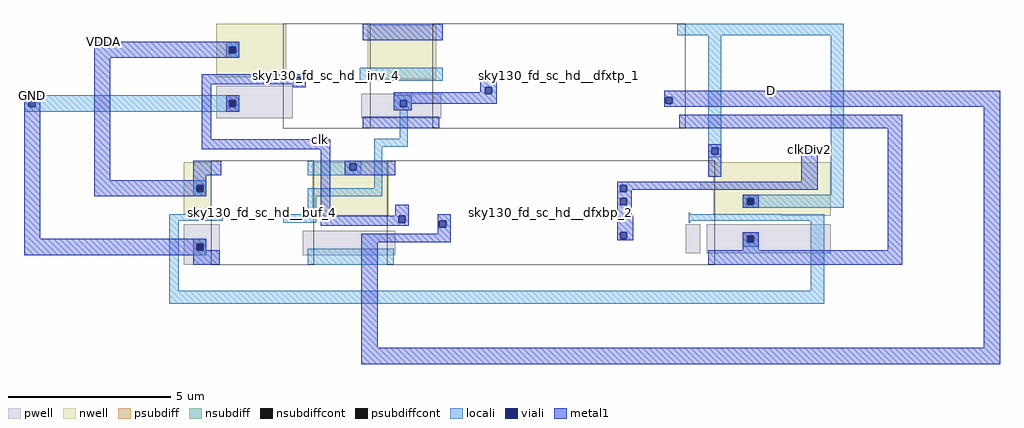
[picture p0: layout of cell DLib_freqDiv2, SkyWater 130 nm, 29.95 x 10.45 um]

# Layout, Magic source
magic
tech sky130A
magscale 1 2
<< nwell >>
rect -410 310 20 640
rect 520 300 940 630
rect -610 -530 -440 -210
rect 180 -540 650 -210
rect 2610 -300 3360 -210
rect 2640 -330 3360 -300
rect 2560 -380 3360 -330
rect 2640 -530 3360 -380
rect 3060 -540 3360 -530
<< pwell >>
rect -410 60 60 260
rect 480 60 970 210
rect -610 -840 -390 -590
rect 120 -780 690 -630
rect 2470 -770 2560 -590
rect 2600 -770 3360 -590
<< psubdiff >>
rect -350 170 -270 200
rect -350 130 -330 170
rect -290 130 -270 170
rect -350 100 -270 130
rect 2820 -660 2920 -640
rect -550 -710 -470 -680
rect -550 -750 -530 -710
rect -490 -750 -470 -710
rect 2820 -700 2850 -660
rect 2890 -700 2920 -660
rect 2820 -730 2920 -700
rect -550 -780 -470 -750
<< nsubdiff >>
rect -350 500 -270 530
rect -350 460 -330 500
rect -290 460 -270 500
rect -350 430 -270 460
rect -550 -350 -470 -320
rect -550 -390 -530 -350
rect -490 -390 -470 -350
rect -550 -420 -470 -390
rect 2820 -430 2920 -410
rect 2820 -470 2850 -430
rect 2890 -470 2920 -430
rect 2820 -490 2920 -470
<< psubdiffcont >>
rect -330 130 -290 170
rect -530 -750 -490 -710
rect 2850 -700 2890 -660
<< nsubdiffcont >>
rect -330 460 -290 500
rect -530 -390 -490 -350
rect 2850 -470 2890 -430
<< locali >>
rect 2420 570 3440 640
rect -350 500 -270 530
rect -350 460 -330 500
rect -290 460 -270 500
rect -350 430 -270 460
rect 470 290 980 370
rect -1590 170 -270 200
rect -1590 130 -1560 170
rect -1520 130 -330 170
rect -290 130 -270 170
rect -1590 100 -270 130
rect 680 170 790 200
rect 680 130 720 170
rect 760 130 790 170
rect 680 110 790 130
rect 715 -65 765 110
rect 560 -115 765 -65
rect 150 -220 480 -200
rect 150 -260 410 -220
rect 450 -260 480 -220
rect 150 -290 480 -260
rect -550 -350 -470 -320
rect -550 -390 -530 -350
rect -490 -390 -470 -350
rect 560 -370 610 -115
rect 2610 -120 2690 570
rect 2610 -160 2630 -120
rect 2670 -160 2690 -120
rect 2610 -180 2690 -160
rect -550 -420 -470 -390
rect 150 -420 610 -370
rect 3360 -410 3440 570
rect 150 -530 205 -420
rect 2820 -430 3440 -410
rect 2820 -470 2850 -430
rect 2890 -470 3440 -430
rect 2820 -490 3440 -470
rect -700 -570 -370 -530
rect -700 -1000 -640 -570
rect 0 -580 205 -530
rect 2490 -530 2500 -520
rect 2490 -570 3320 -530
rect 2490 -580 2500 -570
rect 2820 -660 2920 -640
rect -550 -710 -470 -680
rect -550 -750 -530 -710
rect -490 -750 -470 -710
rect 2820 -700 2850 -660
rect 2890 -700 2920 -660
rect 2820 -730 2920 -700
rect -550 -780 -470 -750
rect 150 -840 680 -740
rect 3240 -1000 3320 -570
rect -700 -1080 3320 -1000
<< viali >>
rect -330 460 -290 500
rect 70 270 110 310
rect 1240 210 1280 250
rect -1560 130 -1520 170
rect -330 130 -290 170
rect 720 130 760 170
rect 2350 150 2390 190
rect 410 -260 450 -220
rect -530 -390 -490 -350
rect 2630 -160 2670 -120
rect 2070 -390 2110 -350
rect 2070 -470 2110 -430
rect 2850 -470 2890 -430
rect 710 -580 750 -540
rect 960 -610 1000 -570
rect 2070 -680 2110 -640
rect -530 -750 -490 -710
rect 2850 -700 2890 -660
<< metal1 >>
rect 490 540 980 640
rect -1160 500 -270 530
rect -1160 460 -330 500
rect -290 460 -270 500
rect -1160 430 -270 460
rect -1590 170 -1490 200
rect -1590 130 -1560 170
rect -1520 130 -1490 170
rect -1590 -680 -1490 130
rect -1160 -320 -1060 430
rect -500 310 140 330
rect -500 270 70 310
rect 110 270 140 310
rect -500 -70 -440 270
rect 60 250 140 270
rect 1210 250 1310 290
rect 1210 220 1240 250
rect 680 210 1240 220
rect 1280 210 1310 250
rect -350 170 -270 200
rect -350 130 -330 170
rect -290 130 -270 170
rect -350 100 -270 130
rect 680 170 1310 210
rect 680 130 720 170
rect 760 150 1310 170
rect 2340 190 4400 230
rect 2340 150 2350 190
rect 2390 150 4400 190
rect 760 130 790 150
rect 2340 130 4400 150
rect 680 110 790 130
rect 490 0 960 70
rect 2430 0 3800 80
rect -500 -130 290 -70
rect -550 -290 -380 -200
rect -550 -320 -470 -290
rect -1160 -350 -470 -320
rect -1160 -390 -530 -350
rect -490 -390 -470 -350
rect -1160 -420 -470 -390
rect 230 -540 290 -130
rect 2610 -120 2690 -100
rect 2610 -160 2630 -120
rect 2670 -160 2690 -120
rect 380 -220 690 -200
rect 380 -260 410 -220
rect 450 -260 690 -220
rect 380 -290 690 -260
rect 2610 -300 2690 -160
rect 3180 -330 3280 -130
rect 2050 -350 3280 -330
rect 2050 -390 2070 -350
rect 2110 -380 3280 -350
rect 2110 -390 2140 -380
rect 2050 -430 2140 -390
rect 2050 -470 2070 -430
rect 2110 -470 2140 -430
rect 690 -540 770 -470
rect 230 -580 710 -540
rect 750 -580 770 -540
rect 230 -600 770 -580
rect 950 -570 1030 -530
rect 950 -610 960 -570
rect 1000 -610 1030 -570
rect 950 -650 1030 -610
rect -1590 -710 -470 -680
rect -1590 -750 -530 -710
rect -490 -750 -470 -710
rect 480 -700 1030 -650
rect 2050 -540 2140 -470
rect 2820 -430 2920 -410
rect 2820 -470 2850 -430
rect 2890 -470 2920 -430
rect 2820 -490 2920 -470
rect 2050 -640 2150 -540
rect 2050 -680 2070 -640
rect 2110 -680 2150 -640
rect 2050 -690 2150 -680
rect 2820 -660 2920 -640
rect 2820 -700 2850 -660
rect 2890 -700 2920 -660
rect -1590 -780 -390 -750
rect -550 -840 -390 -780
rect 480 -1350 580 -700
rect 2820 -750 2920 -700
rect 3710 -750 3800 0
rect 2610 -840 3800 -750
rect 4300 -1350 4400 130
rect 480 -1450 4400 -1350
use sky130_fd_sc_hd__buf_4  sky130_fd_sc_hd__buf_4_0 $PDKPATH/libs.ref/sky130_fd_sc_hd/mag
transform 1 0 -402 0 1 -792
box -38 -48 590 592
use sky130_fd_sc_hd__dfxbp_2  sky130_fd_sc_hd__dfxbp_2_0 $PDKPATH/libs.ref/sky130_fd_sc_hd/mag
transform 1 0 678 0 1 -792
box -38 -48 1970 592
use sky130_fd_sc_hd__dfxtp_1  sky130_fd_sc_hd__dfxtp_1_0 $PDKPATH/libs.ref/sky130_fd_sc_hd/mag
transform 1 0 958 0 1 48
box -38 -48 1510 592
use sky130_fd_sc_hd__inv_4  sky130_fd_sc_hd__inv_4_0 $PDKPATH/libs.ref/sky130_fd_sc_hd/mag
transform 1 0 38 0 1 48
box -38 -48 498 592
<< labels >>
rlabel metal1 230 -70 230 -70 1 clk
port 1 n
rlabel locali 180 -580 180 -580 5 Q_N_buf
rlabel locali -660 -530 -660 -530 1 Q_N
rlabel locali 680 290 680 290 5 clkinv
rlabel metal1 -1540 200 -1540 200 1 GND
port 4 n
rlabel metal1 -1100 530 -1100 530 1 VDDA
port 3 n
rlabel metal1 3000 230 3000 230 1 D
rlabel metal1 3230 -130 3230 -130 1 clkDiv2
port 2 n
<< end >>
